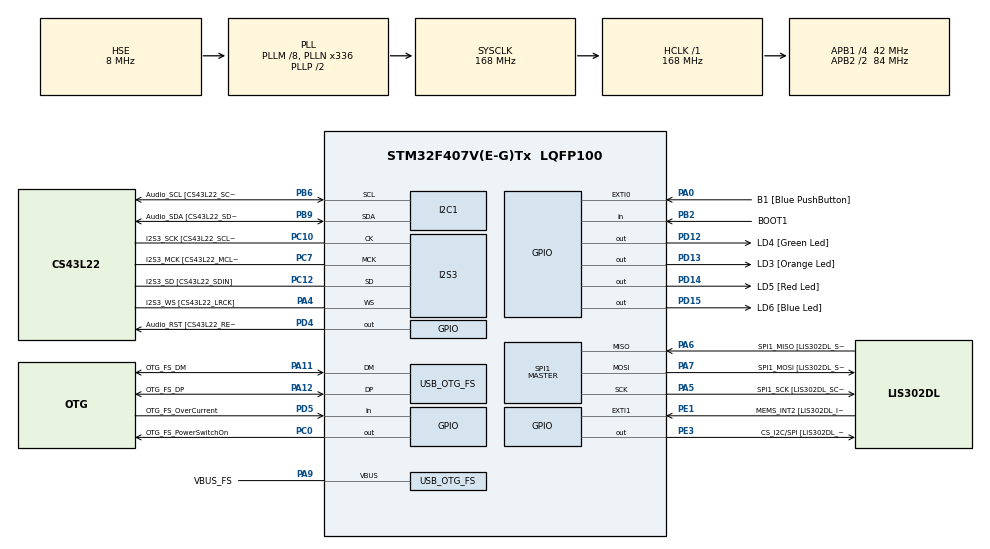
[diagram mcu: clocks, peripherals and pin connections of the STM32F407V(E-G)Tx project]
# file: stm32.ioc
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FREERTOS.Tasks01=pingTask,0,128,pingTaskFunction,Default,NULL,Dynamic,NULL,NULL;pongTask,-3,128,pongTaskFunction,Default,NULL,Dynamic,NULL,NULL
I2S3.AudioFreq-Half_Duplex_Master=I2S_AUDIOFREQ_96K
I2S3.ErrorAudioFreq=-2.34 %
I2S3.ErrorAudioFreq-Half_Duplex_Master=0.8 %
I2S3.FullDuplexMode=I2S_FULLDUPLEXMODE_DISABLE
I2S3.Instance=SPI$Index
I2S3.RealAudioFreq=93.75 KHz
I2S3.RealAudioFreq-Half_Duplex_Master=96.774 KHz
I2S3.VirtualMode=I2S_MODE_MASTER
Mcu.Family=STM32F4
Mcu.Name=STM32F407V(E-G)Tx
Mcu.Package=LQFP100
NVIC.OTG_FS_IRQn=true\:5\:0\:false\:false\:true\:true\:true
NVIC.PriorityGroup=NVIC_PRIORITYGROUP_4
NVIC.TIM1_UP_TIM10_IRQn=true\:0\:0\:false\:false\:true\:false\:false
NVIC.TimeBase=TIM1_UP_TIM10_IRQn
NVIC.TimeBaseIP=TIM1
PA0-WKUP.GPIO_Label=B1 [Blue PushButton]
PA0-WKUP.GPIO_ModeDefaultEXTI=GPIO_MODE_EVT_RISING
PA0-WKUP.GPIO_PuPd=GPIO_NOPULL
PA0-WKUP.Signal=GPXTI0
PA10.GPIO_Label=OTG_FS_ID
PA10.GPIO_Mode=GPIO_MODE_AF_PP
PA10.GPIO_PuPd=GPIO_NOPULL
PA10.GPIO_Speed=GPIO_SPEED_FREQ_LOW
PA10.Signal=USB_OTG_FS_ID
PA11.GPIO_Label=OTG_FS_DM
PA11.GPIO_Mode=GPIO_MODE_AF_PP
PA11.GPIO_PuPd=GPIO_NOPULL
PA11.GPIO_Speed=GPIO_SPEED_FREQ_LOW
PA11.Mode=Host_Only
PA11.Signal=USB_OTG_FS_DM
PA12.GPIO_Label=OTG_FS_DP
PA12.GPIO_Mode=GPIO_MODE_AF_PP
PA12.GPIO_PuPd=GPIO_NOPULL
PA12.GPIO_Speed=GPIO_SPEED_FREQ_LOW
PA12.Mode=Host_Only
PA12.Signal=USB_OTG_FS_DP
PA13.GPIO_Label=SWDIO
PA13.Mode=Serial_Wire
PA13.Signal=SYS_JTMS-SWDIO
PA14.GPIO_Label=SWCLK
PA14.Mode=Serial_Wire
PA14.Signal=SYS_JTCK-SWCLK
PA4.GPIO_Label=I2S3_WS [CS43L22_LRCK]
PA4.GPIO_Mode=GPIO_MODE_AF_PP
PA4.GPIO_PuPd=GPIO_NOPULL
PA4.GPIO_Speed=GPIO_SPEED_FREQ_LOW
PA4.Mode=Half_Duplex_Master
PA4.Signal=I2S3_WS
PA5.GPIO_Label=SPI1_SCK [LIS302DL_SCL/SPC]
PA5.GPIO_Mode=GPIO_MODE_AF_PP
PA5.GPIO_PuPd=GPIO_NOPULL
PA5.GPIO_Speed=GPIO_SPEED_FREQ_LOW
PA5.Mode=Full_Duplex_Master
PA5.Signal=SPI1_SCK
PA6.GPIO_Label=SPI1_MISO [LIS302DL_SDO]
PA6.GPIO_Mode=GPIO_MODE_AF_PP
PA6.GPIO_PuPd=GPIO_NOPULL
PA6.GPIO_Speed=GPIO_SPEED_FREQ_LOW
PA6.Mode=Full_Duplex_Master
PA6.Signal=SPI1_MISO
PA7.GPIO_Label=SPI1_MOSI [LIS302DL_SDA/SDI/SDO]
PA7.GPIO_Mode=GPIO_MODE_AF_PP
PA7.GPIO_PuPd=GPIO_NOPULL
PA7.GPIO_Speed=GPIO_SPEED_FREQ_LOW
PA7.Mode=Full_Duplex_Master
PA7.Signal=SPI1_MOSI
PA9.GPIO_Label=VBUS_FS
PA9.GPIO_Mode=GPIO_MODE_INPUT
PA9.GPIO_PuPd=GPIO_NOPULL
PA9.Mode=Activate_VBUS
PA9.Signal=USB_OTG_FS_VBUS
PB10.GPIO_Label=CLK_IN [MP45DT02_CLK]
PB10.GPIO_Mode=GPIO_MODE_AF_PP
PB10.GPIO_PuPd=GPIO_NOPULL
PB10.GPIO_Speed=GPIO_SPEED_FREQ_LOW
PB10.Signal=I2S2_CK
PB2.GPIO_Label=BOOT1
PB2.GPIO_Mode=GPIO_MODE_INPUT
PB2.GPIO_PuPd=GPIO_NOPULL
PB2.Signal=GPIO_Input
PB3.GPIO_Label=SWO
PB3.Signal=SYS_JTDO-SWO
PB6.GPIO_Label=Audio_SCL [CS43L22_SCL]
PB6.GPIO_Mode=GPIO_MODE_AF_OD
PB6.GPIO_PuPd=GPIO_NOPULL
PB6.GPIO_Speed=GPIO_SPEED_FREQ_LOW
PB6.Mode=I2C
PB6.Signal=I2C1_SCL
PB9.GPIO_Label=Audio_SDA [CS43L22_SDA]
PB9.GPIO_Mode=GPIO_MODE_AF_OD
PB9.GPIO_PuPd=GPIO_NOPULL
PB9.GPIO_Speed=GPIO_SPEED_FREQ_LOW
PB9.Mode=I2C
PB9.Signal=I2C1_SDA
PC0.GPIO_Label=OTG_FS_PowerSwitchOn
PC0.GPIO_PuPd=GPIO_NOPULL
PC0.GPIO_Speed=GPIO_SPEED_FREQ_LOW
PC0.PinState=GPIO_PIN_SET
PC0.Signal=GPIO_Output
PC10.GPIO_Label=I2S3_SCK [CS43L22_SCLK]
PC10.GPIO_Mode=GPIO_MODE_AF_PP
PC10.GPIO_PuPd=GPIO_NOPULL
PC10.GPIO_Speed=GPIO_SPEED_FREQ_LOW
PC10.Mode=Half_Duplex_Master
PC10.Signal=I2S3_CK
PC12.GPIO_Label=I2S3_SD [CS43L22_SDIN]
PC12.GPIO_Mode=GPIO_MODE_AF_PP
PC12.GPIO_PuPd=GPIO_NOPULL
PC12.GPIO_Speed=GPIO_SPEED_FREQ_LOW
PC12.Mode=Half_Duplex_Master
PC12.Signal=I2S3_SD
PC14-OSC32_IN.GPIO_Label=PC14-OSC32_IN
PC14-OSC32_IN.Mode=LSE-External-Oscillator
PC14-OSC32_IN.Signal=RCC_OSC32_IN
PC15-OSC32_OUT.GPIO_Label=PC15-OSC32_OUT
PC15-OSC32_OUT.Mode=LSE-External-Oscillator
PC15-OSC32_OUT.Signal=RCC_OSC32_OUT
PC3.GPIO_Label=PDM_OUT [MP45DT02_DOUT]
PC3.GPIO_Mode=GPIO_MODE_AF_PP
PC3.GPIO_PuPd=GPIO_NOPULL
PC3.GPIO_Speed=GPIO_SPEED_FREQ_LOW
PC3.Signal=I2S2_SD
PC7.GPIO_Label=I2S3_MCK [CS43L22_MCLK]
PC7.GPIO_Mode=GPIO_MODE_AF_PP
PC7.GPIO_PuPd=GPIO_NOPULL
PC7.GPIO_Speed=GPIO_SPEED_FREQ_LOW
PC7.Mode=Master_Clock_Activated
PC7.Signal=I2S3_MCK
PD12.GPIO_Label=LD4 [Green Led]
PD12.GPIO_PuPd=GPIO_NOPULL
PD12.GPIO_Speed=GPIO_SPEED_FREQ_LOW
PD12.Signal=GPIO_Output
PD13.GPIO_Label=LD3 [Orange Led]
PD13.GPIO_PuPd=GPIO_NOPULL
PD13.GPIO_Speed=GPIO_SPEED_FREQ_LOW
PD13.Signal=GPIO_Output
PD14.GPIO_Label=LD5 [Red Led]
PD14.GPIO_PuPd=GPIO_NOPULL
PD14.GPIO_Speed=GPIO_SPEED_FREQ_LOW
PD14.Signal=GPIO_Output
PD15.GPIO_Label=LD6 [Blue Led]
PD15.GPIO_PuPd=GPIO_NOPULL
PD15.GPIO_Speed=GPIO_SPEED_FREQ_LOW
PD15.Signal=GPIO_Output
PD4.GPIO_Label=Audio_RST [CS43L22_RESET]
PD4.GPIO_PuPd=GPIO_NOPULL
PD4.GPIO_Speed=GPIO_SPEED_FREQ_LOW
PD4.Signal=GPIO_Output
PD5.GPIO_Label=OTG_FS_OverCurrent
PD5.GPIO_Mode=GPIO_MODE_INPUT
PD5.GPIO_PuPd=GPIO_NOPULL
PD5.Signal=GPIO_Input
PE1.GPIO_Label=MEMS_INT2 [LIS302DL_INT2]
PE1.GPIO_ModeDefaultEXTI=GPIO_MODE_EVT_RISING
PE1.GPIO_PuPd=GPIO_NOPULL
PE1.Signal=GPXTI1
PE3.GPIO_Label=CS_I2C/SPI [LIS302DL_CS_I2C/SPI]
PE3.GPIO_PuPd=GPIO_NOPULL
PE3.GPIO_Speed=GPIO_SPEED_FREQ_LOW
PE3.Signal=GPIO_Output
PH0-OSC_IN.GPIO_Label=PH0-OSC_IN
PH0-OSC_IN.Mode=HSE-External-Oscillator
PH0-OSC_IN.Signal=RCC_OSC_IN
PH1-OSC_OUT.GPIO_Label=PH1-OSC_OUT
PH1-OSC_OUT.Mode=HSE-External-Oscillator
PH1-OSC_OUT.Signal=RCC_OSC_OUT
ProjectManager.HeapSize=0x200
ProjectManager.StackSize=0x400
ProjectManager.TargetToolchain=SW4STM32
RCC.48MHZClocksFreq_Value=48000000
RCC.AHBFreq_Value=168000000
RCC.APB1CLKDivider=RCC_HCLK_DIV4
RCC.APB1Freq_Value=42000000
RCC.APB1TimFreq_Value=84000000
RCC.APB2CLKDivider=RCC_HCLK_DIV2
RCC.APB2Freq_Value=84000000
RCC.APB2TimFreq_Value=168000000
RCC.CortexFreq_Value=168000000
RCC.HCLKFreq_Value=168000000
RCC.HSE_VALUE=8000000
RCC.HSI_VALUE=16000000
RCC.PLLM=8
RCC.PLLN=336
RCC.PLLQ=7
RCC.SYSCLKFreq_VALUE=168000000
RCC.SYSCLKSource=RCC_SYSCLKSOURCE_PLLCLK
RCC.VCOOutputFreq_Value=336000000
SPI1.BaudRatePrescaler-Full_Duplex_Master=SPI_BAUDRATEPRESCALER_2
SPI1.CalculateBaudRate-Full_Duplex_Master=42.0 MBits/s
SPI1.Direction=SPI_DIRECTION_2LINES
SPI1.Mode=SPI_MODE_MASTER
SPI1.Mode-Full_Duplex_Master=SPI_MODE_MASTER
SPI1.VirtualType=VM_MASTER
USB_HOST.BSP.number=1
USB_HOST.USBH_HandleTypeDef-CDC_FS=hUsbHostFS
USB_HOST.VirtualModeFS=Cdc
USB_HOST0.BSP.STBoard=false
USB_HOST0.BSP.api=Unknown
USB_HOST0.BSP.i2caddr=0
USB_HOST0.BSP.i2creg=0
USB_HOST0.BSP.instance=PC0
USB_HOST0.BSP.ip=GPIO
USB_HOST0.BSP.mode=Output
USB_HOST0.BSP.name=Drive_VBUS_FS
USB_HOST0.BSP.solution=PC0
USB_OTG_FS.VirtualMode=Host_Only
USB_OTG_FS.phy_itface=HCD_PHY_EMBEDDED
VP_FREERTOS_VS_ENABLE.Mode=Enabled
VP_SYS_VS_tim1.Mode=TIM1
VP_USB_HOST_VS_USB_HOST_CDC_FS.Mode=CDC_FS
board=STM32F4DISCOVERY

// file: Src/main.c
/* USER CODE BEGIN Header */
/**
  ******************************************************************************
  * @file           : main.c
  * @brief          : Main program body
  ******************************************************************************
  * This notice applies to any and all portions of this file
  * that are not between comment pairs USER CODE BEGIN and
  * USER CODE END. Other portions of this file, whether
  * inserted by the user or by software development tools
  * are owned by their respective copyright owners.
  *
  * Copyright (c) 2019 STMicroelectronics International N.V.
  * All rights reserved.
  *
  * Redistribution and use in source and binary forms, with or without
  * modification, are permitted, provided that the following conditions are met:
  *
  * 1. Redistribution of source code must retain the above copyright notice,
  *    this list of conditions and the following disclaimer.
  * 2. Redistributions in binary form must reproduce the above copyright notice,
  *    this list of conditions and the following disclaimer in the documentation
  *    and/or other materials provided with the distribution.
  * 3. Neither the name of STMicroelectronics nor the names of other
  *    contributors to this software may be used to endorse or promote products
  *    derived from this software without specific written permission.
  * 4. This software, including modifications and/or derivative works of this
  *    software, must execute solely and exclusively on microcontroller or
  *    microprocessor devices manufactured by or for STMicroelectronics.
  * 5. Redistribution and use of this software other than as permitted under
  *    this license is void and will automatically terminate your rights under
  *    this license.
  *
  * THIS SOFTWARE IS PROVIDED BY STMICROELECTRONICS AND CONTRIBUTORS "AS IS"
  * AND ANY EXPRESS, IMPLIED OR STATUTORY WARRANTIES, INCLUDING, BUT NOT
  * LIMITED TO, THE IMPLIED WARRANTIES OF MERCHANTABILITY, FITNESS FOR A
  * PARTICULAR PURPOSE AND NON-INFRINGEMENT OF THIRD PARTY INTELLECTUAL PROPERTY
  * RIGHTS ARE DISCLAIMED TO THE FULLEST EXTENT PERMITTED BY LAW. IN NO EVENT
  * SHALL STMICROELECTRONICS OR CONTRIBUTORS BE LIABLE FOR ANY DIRECT, INDIRECT,
  * INCIDENTAL, SPECIAL, EXEMPLARY, OR CONSEQUENTIAL DAMAGES (INCLUDING, BUT NOT
  * LIMITED TO, PROCUREMENT OF SUBSTITUTE GOODS OR SERVICES; LOSS OF USE, DATA,
  * OR PROFITS; OR BUSINESS INTERRUPTION) HOWEVER CAUSED AND ON ANY THEORY OF
  * LIABILITY, WHETHER IN CONTRACT, STRICT LIABILITY, OR TORT (INCLUDING
  * NEGLIGENCE OR OTHERWISE) ARISING IN ANY WAY OUT OF THE USE OF THIS SOFTWARE,
  * EVEN IF ADVISED OF THE POSSIBILITY OF SUCH DAMAGE.
  *
  ******************************************************************************
  */
/* USER CODE END Header */

#include "main.h"
#include "cmsis_os.h"
#include "usb_host.h"

#include <ipc.h>
#include <all.h>

I2C_HandleTypeDef hi2c1;

I2S_HandleTypeDef hi2s3;

SPI_HandleTypeDef hspi1;

osThreadId pingTaskHandle;
osThreadId pongTaskHandle;

void SystemClock_Config(void);
static void MX_GPIO_Init(void);
static void MX_I2C1_Init(void);
static void MX_I2S3_Init(void);
static void MX_SPI1_Init(void);
void pingTaskFunction(void const * argument);
void pongTaskFunction(void const * argument);

int main(void)
{

  /* MCU Configuration--------------------------------------------------------*/

  /* Reset of all peripherals, Initializes the Flash interface and the Systick. */
  HAL_Init();

  /* Configure the system clock */
  SystemClock_Config();

  /* Initialize all configured peripherals */
  MX_GPIO_Init();
  MX_I2C1_Init();
  MX_I2S3_Init();
  MX_SPI1_Init();

  /* Create the thread(s) */
  /* definition and creation of pingTask */
  osThreadDef(pingTask, pingTaskFunction, osPriorityNormal, 0, 256);
  pingTaskHandle = osThreadCreate(osThread(pingTask), NULL);

  /* definition and creation of pongTask */
  //osThreadDef(pongTask, pongTaskFunction, osPriorityIdle, 0, 128);
  //pongTaskHandle = osThreadCreate(osThread(pongTask), NULL);

  /* Start scheduler */
  osKernelStart();

  /* We should never get here as control is now taken by the scheduler */

  /* Infinite loop */
  while (1)
  {

  }
}

void SystemClock_Config(void)
{
  RCC_OscInitTypeDef RCC_OscInitStruct = {0};
  RCC_ClkInitTypeDef RCC_ClkInitStruct = {0};
  RCC_PeriphCLKInitTypeDef PeriphClkInitStruct = {0};

  /**Configure the main internal regulator output voltage
  */
  __HAL_RCC_PWR_CLK_ENABLE();
  __HAL_PWR_VOLTAGESCALING_CONFIG(PWR_REGULATOR_VOLTAGE_SCALE1);
  /**Initializes the CPU, AHB and APB busses clocks
  */
  RCC_OscInitStruct.OscillatorType = RCC_OSCILLATORTYPE_HSE;
  RCC_OscInitStruct.HSEState = RCC_HSE_ON;
  RCC_OscInitStruct.PLL.PLLState = RCC_PLL_ON;
  RCC_OscInitStruct.PLL.PLLSource = RCC_PLLSOURCE_HSE;
  RCC_OscInitStruct.PLL.PLLM = 8;
  RCC_OscInitStruct.PLL.PLLN = 336;
  RCC_OscInitStruct.PLL.PLLP = RCC_PLLP_DIV2;
  RCC_OscInitStruct.PLL.PLLQ = 7;
  if (HAL_RCC_OscConfig(&RCC_OscInitStruct) != HAL_OK)
  {
    Error_Handler();
  }
  /**Initializes the CPU, AHB and APB busses clocks
  */
  RCC_ClkInitStruct.ClockType = RCC_CLOCKTYPE_HCLK|RCC_CLOCKTYPE_SYSCLK
                              |RCC_CLOCKTYPE_PCLK1|RCC_CLOCKTYPE_PCLK2;
  RCC_ClkInitStruct.SYSCLKSource = RCC_SYSCLKSOURCE_PLLCLK;
  RCC_ClkInitStruct.AHBCLKDivider = RCC_SYSCLK_DIV1;
  RCC_ClkInitStruct.APB1CLKDivider = RCC_HCLK_DIV4;
  RCC_ClkInitStruct.APB2CLKDivider = RCC_HCLK_DIV2;

  if (HAL_RCC_ClockConfig(&RCC_ClkInitStruct, FLASH_LATENCY_5) != HAL_OK)
  {
    Error_Handler();
  }
  PeriphClkInitStruct.PeriphClockSelection = RCC_PERIPHCLK_I2S;
  PeriphClkInitStruct.PLLI2S.PLLI2SN = 192;
  PeriphClkInitStruct.PLLI2S.PLLI2SR = 2;
  if (HAL_RCCEx_PeriphCLKConfig(&PeriphClkInitStruct) != HAL_OK)
  {
    Error_Handler();
  }
}

static void MX_I2C1_Init(void)
{

  hi2c1.Instance = I2C1;
  hi2c1.Init.ClockSpeed = 100000;
  hi2c1.Init.DutyCycle = I2C_DUTYCYCLE_2;
  hi2c1.Init.OwnAddress1 = 0;
  hi2c1.Init.AddressingMode = I2C_ADDRESSINGMODE_7BIT;
  hi2c1.Init.DualAddressMode = I2C_DUALADDRESS_DISABLE;
  hi2c1.Init.OwnAddress2 = 0;
  hi2c1.Init.GeneralCallMode = I2C_GENERALCALL_DISABLE;
  hi2c1.Init.NoStretchMode = I2C_NOSTRETCH_DISABLE;
  if (HAL_I2C_Init(&hi2c1) != HAL_OK)
  {
    Error_Handler();
  }

}

static void MX_I2S3_Init(void)
{

  hi2s3.Instance = SPI3;
  hi2s3.Init.Mode = I2S_MODE_MASTER_TX;
  hi2s3.Init.Standard = I2S_STANDARD_PHILIPS;
  hi2s3.Init.DataFormat = I2S_DATAFORMAT_16B;
  hi2s3.Init.MCLKOutput = I2S_MCLKOUTPUT_ENABLE;
  hi2s3.Init.AudioFreq = I2S_AUDIOFREQ_96K;
  hi2s3.Init.CPOL = I2S_CPOL_LOW;
  hi2s3.Init.ClockSource = I2S_CLOCK_PLL;
  hi2s3.Init.FullDuplexMode = I2S_FULLDUPLEXMODE_DISABLE;
  if (HAL_I2S_Init(&hi2s3) != HAL_OK)
  {
    Error_Handler();
  }

}

static void MX_SPI1_Init(void)
{

  /* SPI1 parameter configuration*/
  hspi1.Instance = SPI1;
  hspi1.Init.Mode = SPI_MODE_MASTER;
  hspi1.Init.Direction = SPI_DIRECTION_2LINES;
  hspi1.Init.DataSize = SPI_DATASIZE_8BIT;
  hspi1.Init.CLKPolarity = SPI_POLARITY_LOW;
  hspi1.Init.CLKPhase = SPI_PHASE_1EDGE;
  hspi1.Init.NSS = SPI_NSS_SOFT;
  hspi1.Init.BaudRatePrescaler = SPI_BAUDRATEPRESCALER_2;
  hspi1.Init.FirstBit = SPI_FIRSTBIT_MSB;
  hspi1.Init.TIMode = SPI_TIMODE_DISABLE;
  hspi1.Init.CRCCalculation = SPI_CRCCALCULATION_DISABLE;
  hspi1.Init.CRCPolynomial = 10;
  if (HAL_SPI_Init(&hspi1) != HAL_OK)
  {
    Error_Handler();
  }

}

static void MX_GPIO_Init(void)
{
  GPIO_InitTypeDef GPIO_InitStruct = {0};

  /* GPIO Ports Clock Enable */
  __HAL_RCC_GPIOE_CLK_ENABLE();
  __HAL_RCC_GPIOC_CLK_ENABLE();
  __HAL_RCC_GPIOH_CLK_ENABLE();
  __HAL_RCC_GPIOA_CLK_ENABLE();
  __HAL_RCC_GPIOB_CLK_ENABLE();
  __HAL_RCC_GPIOD_CLK_ENABLE();

  /*Configure GPIO pin Output Level */
  HAL_GPIO_WritePin(CS_I2C_SPI_GPIO_Port, CS_I2C_SPI_Pin, GPIO_PIN_RESET);

  /*Configure GPIO pin Output Level */
  HAL_GPIO_WritePin(OTG_FS_PowerSwitchOn_GPIO_Port, OTG_FS_PowerSwitchOn_Pin, GPIO_PIN_SET);

  /*Configure GPIO pin Output Level */
  HAL_GPIO_WritePin(GPIOD, LD4_Pin|LD3_Pin|LD5_Pin|LD6_Pin
                          |Audio_RST_Pin, GPIO_PIN_RESET);

  /*Configure GPIO pin : CS_I2C_SPI_Pin */
  GPIO_InitStruct.Pin = CS_I2C_SPI_Pin;
  GPIO_InitStruct.Mode = GPIO_MODE_OUTPUT_PP;
  GPIO_InitStruct.Pull = GPIO_NOPULL;
  GPIO_InitStruct.Speed = GPIO_SPEED_FREQ_LOW;
  HAL_GPIO_Init(CS_I2C_SPI_GPIO_Port, &GPIO_InitStruct);

  /*Configure GPIO pin : OTG_FS_PowerSwitchOn_Pin */
  GPIO_InitStruct.Pin = OTG_FS_PowerSwitchOn_Pin;
  GPIO_InitStruct.Mode = GPIO_MODE_OUTPUT_PP;
  GPIO_InitStruct.Pull = GPIO_NOPULL;
  GPIO_InitStruct.Speed = GPIO_SPEED_FREQ_LOW;
  HAL_GPIO_Init(OTG_FS_PowerSwitchOn_GPIO_Port, &GPIO_InitStruct);

  /*Configure GPIO pin : PDM_OUT_Pin */
  GPIO_InitStruct.Pin = PDM_OUT_Pin;
  GPIO_InitStruct.Mode = GPIO_MODE_AF_PP;
  GPIO_InitStruct.Pull = GPIO_NOPULL;
  GPIO_InitStruct.Speed = GPIO_SPEED_FREQ_LOW;
  GPIO_InitStruct.Alternate = GPIO_AF5_SPI2;
  HAL_GPIO_Init(PDM_OUT_GPIO_Port, &GPIO_InitStruct);

  /*Configure GPIO pin : B1_Pin */
  GPIO_InitStruct.Pin = B1_Pin;
  GPIO_InitStruct.Mode = GPIO_MODE_EVT_RISING;
  GPIO_InitStruct.Pull = GPIO_NOPULL;
  HAL_GPIO_Init(B1_GPIO_Port, &GPIO_InitStruct);

  /*Configure GPIO pin : BOOT1_Pin */
  GPIO_InitStruct.Pin = BOOT1_Pin;
  GPIO_InitStruct.Mode = GPIO_MODE_INPUT;
  GPIO_InitStruct.Pull = GPIO_NOPULL;
  HAL_GPIO_Init(BOOT1_GPIO_Port, &GPIO_InitStruct);

  /*Configure GPIO pin : CLK_IN_Pin */
  GPIO_InitStruct.Pin = CLK_IN_Pin;
  GPIO_InitStruct.Mode = GPIO_MODE_AF_PP;
  GPIO_InitStruct.Pull = GPIO_NOPULL;
  GPIO_InitStruct.Speed = GPIO_SPEED_FREQ_LOW;
  GPIO_InitStruct.Alternate = GPIO_AF5_SPI2;
  HAL_GPIO_Init(CLK_IN_GPIO_Port, &GPIO_InitStruct);

  /*Configure GPIO pins : LD4_Pin LD3_Pin LD5_Pin LD6_Pin
                           Audio_RST_Pin */
  GPIO_InitStruct.Pin = LD4_Pin|LD3_Pin|LD5_Pin|LD6_Pin
                          |Audio_RST_Pin;
  GPIO_InitStruct.Mode = GPIO_MODE_OUTPUT_PP;
  GPIO_InitStruct.Pull = GPIO_NOPULL;
  GPIO_InitStruct.Speed = GPIO_SPEED_FREQ_LOW;
  HAL_GPIO_Init(GPIOD, &GPIO_InitStruct);

  /*Configure GPIO pin : OTG_FS_OverCurrent_Pin */
  GPIO_InitStruct.Pin = OTG_FS_OverCurrent_Pin;
  GPIO_InitStruct.Mode = GPIO_MODE_INPUT;
  GPIO_InitStruct.Pull = GPIO_NOPULL;
  HAL_GPIO_Init(OTG_FS_OverCurrent_GPIO_Port, &GPIO_InitStruct);

  /*Configure GPIO pin : MEMS_INT2_Pin */
  GPIO_InitStruct.Pin = MEMS_INT2_Pin;
  GPIO_InitStruct.Mode = GPIO_MODE_EVT_RISING;
  GPIO_InitStruct.Pull = GPIO_NOPULL;
  HAL_GPIO_Init(MEMS_INT2_GPIO_Port, &GPIO_InitStruct);

}

/* USER CODE BEGIN 4 */

void blink(uint16_t pin, int16_t count){
    int16_t delay = 400;

    for(int16_t i = 0; i < count; i++) {
        HAL_GPIO_WritePin(GPIOD, pin, GPIO_PIN_SET);
        osDelay(delay);
        HAL_GPIO_WritePin(GPIOD, pin, GPIO_PIN_RESET);
        osDelay(delay);
    }
}

void blinkOnGreen(int16_t count) {
    blink(GPIO_PIN_12, count);
}

void blinkOnBlue(int16_t count) {
    blink(GPIO_PIN_15, count);
}

const int16_t EMPTY = -1;

int16_t ping_out_id = 0;
int16_t ping_in_id = 1;

int16_t pong_in_id = 2;
int16_t pong_out_id = 3;

int16_t buffer[4] = { EMPTY, EMPTY, EMPTY, EMPTY };
int16_t connections[4];

int16_t receiveInput(int16_t portId) {
    int16_t ret = buffer[portId];
    buffer[portId] = EMPTY;
    return ret;
}

int16_t sendOutput(int16_t portId, int16_t data) {
    buffer[connections[portId]] = data;
}

/* USER CODE END 4 */

void pingTaskFunction(void const * argument)
{
  /* init code for USB_HOST */
  MX_USB_HOST_Init();

  /* USER CODE BEGIN 5 */

    StackFrame dummy;
    int16_t seed = 1;

  // init connections
  //connections[ping_out_id] = pong_in_id;

  blinkOnBlue(2);
  // init slang connection
   // proj_Ping_i_App_initialise(dummy, seed);

  blinkOnGreen(2);
  // component initialize entry point
  //sendOutput(ping_out_id, 0);

  /* Infinite loop */
  for(;;)
  {
      /*
      int16_t data = receiveInput(ping_in_id);
      if(data != EMPTY) {

          // blink green light 'data' times
          blinkOnGreen(data);

          //data = (data + 1);// % 4;
          data = slangIncrement(data);

          sendOutput(ping_out_id, data);
      }
      */
    osDelay(1);
  }
  /* USER CODE END 5 */
}

void pongTaskFunction(void const * argument)
{
  /* USER CODE BEGIN pongTaskFunction */
    // init connections
    //connections[pong_out_id] = ping_in_id;

    // component initialize entry point

  /* Infinite loop */
  for(;;)
  {
      /*
      int16_t data = receiveInput(pong_in_id);
      if(data != EMPTY) {
          blinkOnBlue(data);

          //data = (data + 1);
          data = slangIncrement(data);

          sendOutput(pong_out_id, data);
      }
*/
    osDelay(1);
  }
  /* USER CODE END pongTaskFunction */
}

void HAL_TIM_PeriodElapsedCallback(TIM_HandleTypeDef *htim)
{
  if (htim->Instance == TIM1) {
    HAL_IncTick();
  }
}

void Error_Handler(void)
{
}

/************************ (C) COPYRIGHT STMicroelectronics *****END OF FILE****/
